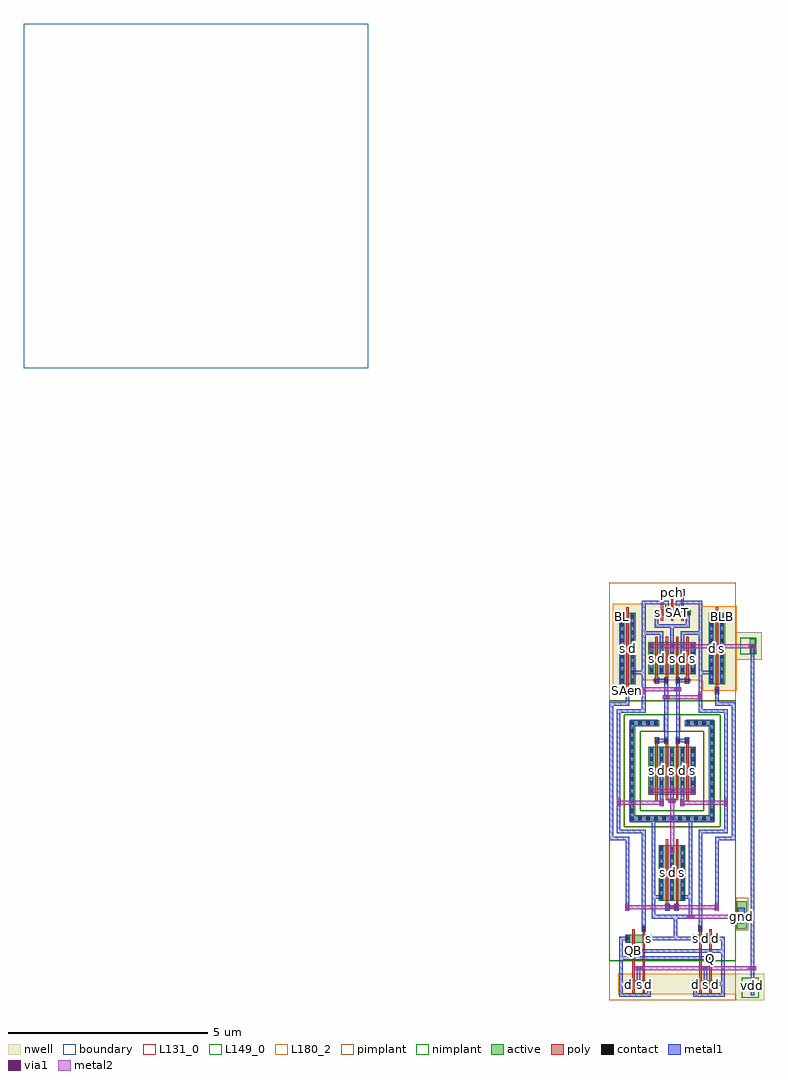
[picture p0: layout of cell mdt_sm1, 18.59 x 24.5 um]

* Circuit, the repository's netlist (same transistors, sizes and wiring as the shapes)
************************************************************************
* auCdl Netlist:
* 
* Library Name:  lab
* Top Cell Name: mdt_sm1
* View Name:     schematic
* Netlisted on:  Apr  9 22:30:28 2026
************************************************************************

*.BIPOLAR
*.RESI = 2000 
*.RESVAL
*.CAPVAL
*.DIOPERI
*.DIOAREA
*.EQUATION
*.SCALE METER
*.MEGA
.PARAM



************************************************************************
* Library Name: lab
* Cell Name:    mdt_sm1
* View Name:    schematic
************************************************************************

.SUBCKT mdt_sm1 BL BLB Q QB SAF SAT SAen gnd pch vdd
*.PININFO BL:I BLB:I SAen:I pch:I vdd:I Q:O QB:O SAF:O SAT:O gnd:B
MM13 QB SAT vdd vdd psvtlp w=0.2 l=0.06 nfing=1 sense=0 ngcon=1 m=1 
+ accurateFlow=0
MM12 QB Q vdd vdd psvtlp w=0.2 l=0.06 nfing=1 sense=0 ngcon=1 m=1 
+ accurateFlow=0
MM11 Q QB vdd vdd psvtlp w=0.2 l=0.06 nfing=1 sense=0 ngcon=1 m=1 
+ accurateFlow=0
MM10 Q SAF vdd vdd psvtlp w=0.2 l=0.06 nfing=1 sense=0 ngcon=1 m=1 
+ accurateFlow=0
MM6 SAT SAen BLB vdd psvtlp w=1.8 l=0.06 nfing=1 sense=0 ngcon=1 m=1 
+ accurateFlow=0
MM5 SAF SAen BL vdd psvtlp w=1.8 l=0.06 nfing=1 sense=0 ngcon=1 m=1 
+ accurateFlow=0
MM4 SAT SAF vdd vdd psvtlp w=1.6 l=0.06 nfing=1 sense=0 ngcon=1 m=1 
+ accurateFlow=0
MM3 SAF SAT vdd vdd psvtlp w=1.6 l=0.06 nfing=1 sense=0 ngcon=1 m=1 
+ accurateFlow=0
MM2 SAT pch vdd vdd psvtlp w=0.135 l=0.06 nfing=1 sense=0 ngcon=1 m=1 
+ accurateFlow=0
MM1 SAT pch SAF vdd psvtlp w=0.135 l=0.06 nfing=1 sense=0 ngcon=1 m=1 
+ accurateFlow=0
MM0 SAF pch vdd vdd psvtlp w=0.135 l=0.06 nfing=1 sense=0 ngcon=1 m=1 
+ accurateFlow=0
MM17 net72 SAT gnd gnd nsvtlp w=0.2 l=0.06 nfing=1 sense=0 ngcon=1 m=1 
+ accurateFlow=0
MM16 QB Q net72 gnd nsvtlp w=0.2 l=0.06 nfing=1 sense=0 ngcon=1 m=1 
+ accurateFlow=0
MM15 net71 SAF gnd gnd nsvtlp w=0.2 l=0.06 nfing=1 sense=0 ngcon=1 m=1 
+ accurateFlow=0
MM14 Q QB net71 gnd nsvtlp w=0.2 l=0.06 nfing=1 sense=0 ngcon=1 m=1 
+ accurateFlow=0
MM9 net46 SAen gnd gnd nsvtlp w=2.8 l=0.06 nfing=1 sense=0 ngcon=1 m=1 
+ accurateFlow=0
MM8 SAT SAF net46 gnd nsvtlp w=2.4 l=0.06 nfing=1 sense=0 ngcon=1 m=1 
+ accurateFlow=0
MM7 SAF SAT net46 gnd nsvtlp w=2.4 l=0.06 nfing=1 sense=0 ngcon=1 m=1 
+ accurateFlow=0
.ENDS

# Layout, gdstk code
from math import pi, radians
import gdstk
lib = gdstk.Library(unit=1e-6, precision=1e-09)
def R(c, l, rs):  # rectangles x0, y0, x1, y1
    for r in rs: c.add(gdstk.rectangle(r[:2], r[2:], *l))
def A(c, l, x, y, w, h, nx, ny, dx, dy):  # array of equal rectangles
    R(c, l, [(x+i*dx, y+j*dy, x+i*dx+w, y+j*dy+h) for i in range(nx) for j in range(ny)])
nwell = (3, 0)
active = (6, 0)
poly = (17, 0)
pimplant = (25, 0)
nimplant = (26, 0)
contact = (30, 0)
metal1 = (31, 0)
metal2 = (32, 0)
via1 = (51, 0)
boundary = (108, 0)
L131_0 = (131, 0)
L149_0 = (149, 0)
L180_2 = (180, 2)

pc_ct = lib.new_cell('pc_ct')
R(pc_ct, contact, [(0,0,0.09,0.09)])

m1__po_h_cdns_7757539609 = lib.new_cell('M1__PO_H_CDNS_775753960930')
R(m1__po_h_cdns_7757539609, poly, [(-0.055,-0.085,0.055,0.085)])
R(m1__po_h_cdns_7757539609, contact, [(-0.045,-0.045,0.045,0.045)])
R(m1__po_h_cdns_7757539609, metal1, [(-0.045,-0.085,0.045,0.085)])

m2x_m1_cdns_775753960931 = lib.new_cell('M2X_M1_CDNS_775753960931')
R(m2x_m1_cdns_775753960931, metal1, [(-0.05,-0.09,0.05,0.09)])
R(m2x_m1_cdns_775753960931, metal2, [(-0.05,-0.09,0.05,0.09)])
R(m2x_m1_cdns_775753960931, via1, [(-0.05,-0.05,0.05,0.05)])

m1__po_cdns_775753960932 = lib.new_cell('M1__PO_CDNS_775753960932')
R(m1__po_cdns_775753960932, poly, [(-0.055,-0.085,0.055,0.085)])
R(m1__po_cdns_775753960932, contact, [(-0.045,-0.045,0.045,0.045)])
R(m1__po_cdns_775753960932, metal1, [(-0.085,-0.045,0.085,0.045)])

m1___pod_cdns_7757539609 = lib.new_cell('M1___POD_CDNS_775753960933')
R(m1___pod_cdns_7757539609, active, [(-0.075,-1.275,0.075,1.275)])
R(m1___pod_cdns_7757539609, pimplant, [(-0.205,-1.405,0.205,1.405)])
A(m1___pod_cdns_7757539609, contact, -0.045, -1.245, 0.09, 0.09, 1, 13, 0, 0.2)
R(m1___pod_cdns_7757539609, metal1, [(-0.045,-1.285,0.045,1.285)])

c_m1___pod_cdns_7757539609 = lib.new_cell('M1___POD_CDNS_775753960934')
R(c_m1___pod_cdns_7757539609, active, [(-1.075,-0.075,1.075,0.075)])
R(c_m1___pod_cdns_7757539609, pimplant, [(-1.205,-0.205,1.205,0.205)])
A(c_m1___pod_cdns_7757539609, contact, -1.045, -0.045, 0.09, 0.09, 11, 1, 0.2, 0)
R(c_m1___pod_cdns_7757539609, metal1, [(-1.045,-0.085,1.045,0.085)])

c_m1___pod_cdns_7757539609_ = lib.new_cell('M1___POD_CDNS_775753960935')
R(c_m1___pod_cdns_7757539609_, active, [(-0.375,-0.075,0.375,0.075)])
R(c_m1___pod_cdns_7757539609_, pimplant, [(-0.505,-0.205,0.505,0.205)])
A(c_m1___pod_cdns_7757539609_, contact, -0.345, -0.045, 0.09, 0.09, 4, 1, 0.2, 0)
R(c_m1___pod_cdns_7757539609_, metal1, [(-0.345,-0.085,0.345,0.085)])

mdt_sm1 = lib.new_cell('mdt_sm1')
R(mdt_sm1, nwell, [(17.88,-15.85,18.595,-15.19), (14.93,-15.71,17.88,-15.19), (14.79,-8.09,15.525,-5.9), (17.035,-8.09,17.9,-5.97), (15.525,-7.83,17.035,-6.71), (17.9,-7.31,18.53,-6.615), (15.525,-6.71,17.035,-5.9)])
A(mdt_sm1, active, 15.815, -6.195, 0.41, 0.135, 3, 1, 0.26, 0)
R(mdt_sm1, active, [(18.06,-15.565,18.435,-15.415), (15.1,-15.55,15.275,-15.35), (15.1,-15.55,15.51,-15.35), (15.335,-15.55,15.51,-15.35), (15.36,-15.55,15.535,-15.35), (15.36,-15.55,15.77,-15.35), (15.595,-15.55,15.77,-15.35), (16.78,-15.55,16.955,-15.35), (16.78,-15.55,17.19,-15.35), (17.015,-15.55,17.19,-15.35), (17.04,-15.55,17.215,-15.35), (17.04,-15.55,17.45,-15.35), (17.275,-15.55,17.45,-15.35), (15.1,-14.41,15.275,-14.21), (15.1,-14.41,15.51,-14.21), (15.335,-14.41,15.51,-14.21), (15.36,-14.41,15.535,-14.21), (15.36,-14.41,15.77,-14.21), (15.595,-14.41,15.77,-14.21), (16.78,-14.41,16.955,-14.21), (16.78,-14.41,17.19,-14.21), (17.015,-14.41,17.19,-14.21), (17.04,-14.41,17.215,-14.21), (17.04,-14.41,17.45,-14.21), (17.275,-14.41,17.45,-14.21), (17.9,-14.06,18.145,-13.375), (15.94,-13.36,16.115,-11.96), (15.94,-13.36,16.61,-11.96), (16.175,-13.36,16.375,-11.96), (16.435,-13.36,16.61,-11.96), (15.68,-10.7,16.35,-9.5), (15.68,-10.7,15.855,-9.5), (15.915,-10.7,16.115,-9.5), (16.175,-10.7,16.35,-9.5), (16.2,-10.7,16.87,-9.5), (16.2,-10.7,16.375,-9.5), (16.435,-10.7,16.635,-9.5), (16.695,-10.7,16.87,-9.5), (14.95,-7.93,15.125,-6.13), (14.95,-7.93,15.36,-6.13), (15.185,-7.93,15.36,-6.13), (17.195,-7.93,17.37,-6.13), (17.195,-7.93,17.605,-6.13), (17.43,-7.93,17.605,-6.13), (15.68,-7.67,15.855,-6.87), (15.68,-7.67,16.35,-6.87), (15.915,-7.67,16.115,-6.87), (16.175,-7.67,16.35,-6.87), (16.2,-7.67,16.375,-6.87), (16.2,-7.67,16.87,-6.87), (16.435,-7.67,16.635,-6.87), (16.695,-7.67,16.87,-6.87), (18.22,-7.15,18.37,-6.78), (15.815,-6.195,15.99,-6.06), (16.05,-6.195,16.225,-6.06), (16.075,-6.195,16.25,-6.06), (16.31,-6.195,16.485,-6.06), (16.335,-6.195,16.51,-6.06), (16.57,-6.195,16.745,-6.06)])
A(mdt_sm1, poly, 15.855, -10.84, 0.06, 1.48, 4, 1, 0.26, 0)
A(mdt_sm1, poly, 15.855, -7.81, 0.06, 1.08, 4, 1, 0.26, 0)
A(mdt_sm1, poly, 15.99, -6.335, 0.06, 0.415, 3, 1, 0.26, 0)
A(mdt_sm1, poly, 15.99, -6.06, 0.06, 0.525, 3, 1, 0.26, 0)
R(mdt_sm1, poly, [(15.275,-15.69,15.335,-15.21), (15.535,-15.69,15.595,-15.21), (16.955,-15.69,17.015,-15.21), (17.215,-15.69,17.275,-15.21), (15.275,-15.35,15.335,-14.41), (15.535,-15.35,15.595,-14.41), (16.955,-15.35,17.015,-14.41), (17.215,-15.35,17.275,-14.41), (15.275,-14.55,15.335,-14.07), (15.535,-14.55,15.595,-14.07), (16.955,-14.55,17.015,-14.07), (17.215,-14.55,17.275,-14.07), (16.115,-13.5,16.175,-11.82), (16.375,-13.5,16.435,-11.82), (15.125,-8.07,15.185,-5.99), (17.37,-8.07,17.43,-5.99), (16.595,-7.915,16.705,-7.745)])
R(mdt_sm1, pimplant, [(14.695,-15.85,17.88,-14.865), (17.88,-14.105,18.185,-13.29), (14.695,-8.335,15.555,-5.375), (15.555,-8.335,17.065,-6.515), (17.065,-8.335,17.88,-5.375), (15.555,-6.515,17.065,-5.375)])
R(mdt_sm1, nimplant, [(18.02,-15.79,18.455,-15.29), (14.695,-14.865,17.88,-11.505), (14.695,-11.505,15.07,-8.695), (17.48,-11.505,17.88,-8.695), (15.48,-11.095,17.07,-9.105), (14.695,-8.695,17.88,-8.335), (17.99,-7.17,18.39,-6.755)])
R(mdt_sm1, contact, [(18.25,-15.535,18.34,-15.445), (17.97,-13.805,18.06,-13.715), (16.605,-7.875,16.695,-7.785), (18.25,-7.015,18.34,-6.925)])
A(mdt_sm1, metal1, 15.97, -13.345, 0.09, 1.37, 3, 1, 0.26, 0)
A(mdt_sm1, metal1, 15.71, -10.685, 0.09, 1.17, 3, 1, 0.26, 0)
A(mdt_sm1, metal1, 16.23, -10.685, 0.09, 1.17, 3, 1, 0.26, 0)
A(mdt_sm1, metal1, 15.71, -7.655, 0.09, 0.77, 3, 1, 0.26, 0)
A(mdt_sm1, metal1, 16.23, -7.655, 0.09, 0.77, 3, 1, 0.26, 0)
R(mdt_sm1, metal1, [(14.95,-15.765,15.04,-15.405), (14.95,-15.765,15.74,-15.675), (15.65,-15.765,15.74,-15.365), (16.81,-15.765,17.6,-15.675), (16.81,-15.765,16.9,-15.365), (17.51,-15.765,17.6,-15.405), (18.25,-15.725,18.34,-6.925), (18.25,-15.575,18.34,-15.405), (15.13,-15.535,15.22,-15.365), (15.39,-15.535,15.48,-15.365), (15.39,-15.535,15.48,-15.365), (15.39,-15.535,15.48,-15.01), (15.65,-15.535,15.74,-15.365), (16.81,-15.535,16.9,-15.365), (17.07,-15.535,17.16,-15.365), (17.07,-15.535,17.16,-15.365), (17.07,-15.535,17.16,-15.01), (17.33,-15.535,17.42,-15.365), (18.25,-15.535,18.34,-15.445), (14.95,-15.495,15.22,-15.405), (14.95,-15.495,15.04,-14.265), (17.33,-15.495,17.6,-15.405), (17.51,-15.495,17.6,-14.265), (14.95,-14.845,17.295,-14.755), (17.205,-14.845,17.295,-14.755), (15.26,-14.665,17.6,-14.575), (15.26,-14.665,15.35,-14.575), (15.13,-14.395,15.22,-14.225), (15.65,-14.395,15.74,-14.225), (16.81,-14.395,16.9,-14.225), (17.33,-14.395,17.42,-14.225), (14.95,-14.355,15.22,-14.265), (15.65,-14.355,16.9,-14.265), (16.32,-14.355,16.41,-13.71), (17.33,-14.355,17.6,-14.265), (15.52,-14.1,15.61,-11.575), (16.94,-14.1,17.03,-11.575), (17.925,-13.92,18.105,-13.71), (15.765,-13.81,15.855,-13.215), (15.765,-13.81,16.785,-13.71), (16.695,-13.81,16.785,-13.215), (17.925,-13.805,18.105,-13.53), (17.97,-13.805,18.06,-13.715), (15.11,-13.57,15.2,-11.755), (17.355,-13.57,17.445,-11.755), (16.115,-13.565,16.435,-13.475), (15.765,-13.305,15.855,-11.255), (15.765,-13.305,16.06,-13.215), (16.49,-13.305,16.785,-13.215), (16.695,-13.305,16.785,-11.255), (14.705,-11.845,15.2,-11.755), (14.705,-11.845,14.795,-8.375), (17.355,-11.845,17.87,-11.755), (17.78,-11.845,17.87,-8.375), (14.89,-11.665,15.61,-11.575), (14.89,-11.665,14.98,-8.555), (16.94,-11.665,17.675,-11.575), (17.585,-11.665,17.675,-8.555), (15.97,-10.95,16.06,-10.555), (16.49,-10.95,16.58,-10.555), (16.23,-10.89,16.32,-10.555), (15.855,-9.385,16.175,-9.295), (16.085,-9.385,16.175,-7.785), (16.375,-9.385,16.695,-9.295), (16.375,-9.385,16.465,-7.785), (14.89,-8.645,15.61,-8.555), (15.52,-8.645,15.61,-6.595), (16.94,-8.645,17.03,-6.595), (16.94,-8.645,17.675,-8.555), (14.705,-8.465,15.2,-8.375), (15.11,-8.465,15.2,-8.045), (17.355,-8.465,17.445,-8.045), (17.355,-8.465,17.87,-8.375), (15.11,-8.135,15.2,-8.045), (14.98,-7.915,15.07,-6.145), (15.24,-7.915,15.33,-6.145), (17.225,-7.915,17.315,-6.145), (17.485,-7.915,17.575,-6.145), (15.855,-7.875,16.175,-7.785), (16.375,-7.875,16.695,-7.785), (16.565,-7.875,16.735,-7.785), (15.24,-7.675,15.61,-7.585), (16.94,-7.675,17.315,-7.585), (15.97,-7.015,16.06,-6.595), (16.23,-7.015,16.32,-6.415), (16.49,-7.015,16.58,-6.595), (18.21,-7.015,18.38,-6.925), (15.52,-6.685,15.61,-5.83), (15.525,-6.685,16.06,-6.595), (16.49,-6.685,17.03,-6.595), (16.94,-6.685,17.03,-5.83), (15.845,-6.505,15.935,-6.085), (15.845,-6.505,16.715,-6.415), (16.625,-6.505,16.715,-6.085), (14.98,-6.275,15.07,-6.185), (17.485,-6.275,17.575,-6.185), (15.845,-6.215,15.935,-6.045), (16.105,-6.215,16.195,-6.045), (16.105,-6.215,16.195,-6.045), (16.365,-6.215,16.455,-6.045), (16.365,-6.215,16.455,-6.045), (16.625,-6.215,16.715,-6.045), (16.105,-6.175,16.195,-5.83), (16.105,-6.175,16.195,-6.085), (16.365,-6.175,16.455,-5.83), (16.365,-6.175,16.455,-6.085), (15.52,-5.92,16.195,-5.83), (16.365,-5.92,17.03,-5.83), (15.975,-5.665,16.585,-5.575), (16.235,-5.665,16.325,-5.575), (16.235,-5.665,16.325,-5.575)])
R(mdt_sm1, metal2, [(15.4,-15.105,18.355,-15.005), (16.65,-13.81,18.105,-13.71), (17.925,-13.81,18.105,-13.71), (15.105,-13.57,17.45,-13.47), (16.225,-12.105,16.325,-10.795), (14.885,-10.945,16.065,-10.845), (16.485,-10.945,17.68,-10.845), (15.705,-10.65,16.845,-10.55), (16.08,-8.3,17.035,-8.2), (15.515,-8.1,16.47,-8), (15.705,-7.02,18.385,-6.92)])
R(mdt_sm1, via1, [(17.965,-13.81,18.065,-13.71)])
R(mdt_sm1, boundary, [(0,0,8.645,8.645)])
A(mdt_sm1, L131_0, 15.97, -13.345, 0.09, 1.37, 3, 1, 0.26, 0)
A(mdt_sm1, L131_0, 15.71, -10.685, 0.09, 1.17, 3, 1, 0.26, 0)
A(mdt_sm1, L131_0, 16.23, -10.685, 0.09, 1.17, 3, 1, 0.26, 0)
A(mdt_sm1, L131_0, 15.71, -7.655, 0.09, 0.77, 3, 1, 0.26, 0)
A(mdt_sm1, L131_0, 16.23, -7.655, 0.09, 0.77, 3, 1, 0.26, 0)
R(mdt_sm1, L131_0, [(15.13,-15.535,15.22,-15.365), (15.39,-15.535,15.48,-15.365), (15.39,-15.535,15.48,-15.365), (15.65,-15.535,15.74,-15.365), (16.81,-15.535,16.9,-15.365), (17.07,-15.535,17.16,-15.365), (17.07,-15.535,17.16,-15.365), (17.33,-15.535,17.42,-15.365), (15.13,-14.395,15.22,-14.225), (15.65,-14.395,15.74,-14.225), (16.81,-14.395,16.9,-14.225), (17.33,-14.395,17.42,-14.225), (14.98,-7.915,15.07,-6.145), (15.24,-7.915,15.33,-6.145), (17.225,-7.915,17.315,-6.145), (17.485,-7.915,17.575,-6.145), (15.845,-6.215,15.935,-6.045), (16.105,-6.215,16.195,-6.045), (16.105,-6.215,16.195,-6.045), (16.365,-6.215,16.455,-6.045), (16.365,-6.215,16.455,-6.045), (16.625,-6.215,16.715,-6.045)])
A(mdt_sm1, L149_0, 15.855, -10.84, 0.06, 0.14, 4, 2, 0.26, 1.34)
A(mdt_sm1, L149_0, 15.855, -7.81, 0.06, 0.14, 4, 2, 0.26, 0.94)
A(mdt_sm1, L149_0, 15.99, -6.335, 0.06, 0.14, 3, 2, 0.26, 0.275)
R(mdt_sm1, L149_0, [(15.275,-15.69,15.335,-15.55), (15.535,-15.69,15.595,-15.55), (16.955,-15.69,17.015,-15.55), (17.215,-15.69,17.275,-15.55), (15.275,-15.35,15.335,-15.21), (15.535,-15.35,15.595,-15.21), (16.955,-15.35,17.015,-15.21), (17.215,-15.35,17.275,-15.21), (15.275,-14.55,15.335,-14.41), (15.535,-14.55,15.595,-14.41), (16.955,-14.55,17.015,-14.41), (17.215,-14.55,17.275,-14.41), (15.275,-14.21,15.335,-14.07), (15.535,-14.21,15.595,-14.07), (16.955,-14.21,17.015,-14.07), (17.215,-14.21,17.275,-14.07), (16.115,-13.5,16.175,-13.36), (16.375,-13.5,16.435,-13.36), (16.115,-11.96,16.175,-11.82), (16.375,-11.96,16.435,-11.82), (15.125,-8.07,15.185,-7.93), (17.37,-8.07,17.43,-7.93), (15.125,-6.13,15.185,-5.99), (17.37,-6.13,17.43,-5.99)])
R(mdt_sm1, L180_2, [(14.93,-15.71,17.88,-15.19), (14.79,-8.09,15.525,-5.9), (17.035,-8.09,17.9,-5.97), (15.525,-7.83,17.035,-6.71), (15.525,-6.71,17.035,-5.9)])
r = gdstk.Reference(pc_ct, (15.71,-10.645)); r.repetition = gdstk.Repetition(1, 6, v1=(0.2,0), v2=(0,0.2)); mdt_sm1.add(r)
r = gdstk.Reference(pc_ct, (15.97,-10.645)); r.repetition = gdstk.Repetition(1, 6, v1=(0.2,0), v2=(0,0.2)); mdt_sm1.add(r)
r = gdstk.Reference(pc_ct, (16.23,-10.645)); r.repetition = gdstk.Repetition(1, 6, v1=(0.2,0), v2=(0,0.2)); mdt_sm1.add(r)
r = gdstk.Reference(pc_ct, (16.23,-10.645)); r.repetition = gdstk.Repetition(1, 6, v1=(0.2,0), v2=(0,0.2)); mdt_sm1.add(r)
r = gdstk.Reference(pc_ct, (16.49,-10.645)); r.repetition = gdstk.Repetition(1, 6, v1=(0.2,0), v2=(0,0.2)); mdt_sm1.add(r)
r = gdstk.Reference(pc_ct, (16.75,-10.645)); r.repetition = gdstk.Repetition(1, 6, v1=(0.2,0), v2=(0,0.2)); mdt_sm1.add(r)
r = gdstk.Reference(pc_ct, (15.24,-7.875)); r.repetition = gdstk.Repetition(1, 9, v1=(0.2,0), v2=(0,0.2)); mdt_sm1.add(r)
r = gdstk.Reference(pc_ct, (14.98,-7.875)); r.repetition = gdstk.Repetition(1, 9, v1=(0.2,0), v2=(0,0.2)); mdt_sm1.add(r)
r = gdstk.Reference(pc_ct, (17.315,-7.875), rotation=pi, x_reflection=True); r.repetition = gdstk.Repetition(1, 9, v1=(-0.2,0), v2=(0,0.2)); mdt_sm1.add(r)
r = gdstk.Reference(pc_ct, (17.575,-7.875), rotation=pi, x_reflection=True); r.repetition = gdstk.Repetition(1, 9, v1=(-0.2,0), v2=(0,0.2)); mdt_sm1.add(r)
r = gdstk.Reference(pc_ct, (16.23,-13.305)); r.repetition = gdstk.Repetition(1, 7, v1=(0.2,0), v2=(0,0.2)); mdt_sm1.add(r)
r = gdstk.Reference(pc_ct, (16.49,-13.305)); r.repetition = gdstk.Repetition(1, 7, v1=(0.2,0), v2=(0,0.2)); mdt_sm1.add(r)
r = gdstk.Reference(pc_ct, (15.97,-13.305)); r.repetition = gdstk.Repetition(1, 7, v1=(0.2,0), v2=(0,0.2)); mdt_sm1.add(r)
r = gdstk.Reference(pc_ct, (16.9,-15.495), rotation=pi, x_reflection=True); r.repetition = gdstk.Repetition(1, 1, v1=(-0.2,0), v2=(0,0.2)); mdt_sm1.add(r)
r = gdstk.Reference(pc_ct, (17.16,-15.495), rotation=pi, x_reflection=True); r.repetition = gdstk.Repetition(1, 1, v1=(-0.2,0), v2=(0,0.2)); mdt_sm1.add(r)
r = gdstk.Reference(pc_ct, (17.33,-14.355)); r.repetition = gdstk.Repetition(1, 1, v1=(0.2,0), v2=(0,0.2)); mdt_sm1.add(r)
r = gdstk.Reference(pc_ct, (17.33,-15.495)); r.repetition = gdstk.Repetition(1, 1, v1=(0.2,0), v2=(0,0.2)); mdt_sm1.add(r)
r = gdstk.Reference(pc_ct, (17.07,-15.495)); r.repetition = gdstk.Repetition(1, 1, v1=(0.2,0), v2=(0,0.2)); mdt_sm1.add(r)
r = gdstk.Reference(pc_ct, (16.81,-14.355)); r.repetition = gdstk.Repetition(1, 1, v1=(0.2,0), v2=(0,0.2)); mdt_sm1.add(r)
r = gdstk.Reference(pc_ct, (15.74,-14.355), rotation=pi, x_reflection=True); r.repetition = gdstk.Repetition(1, 1, v1=(-0.2,0), v2=(0,0.2)); mdt_sm1.add(r)
r = gdstk.Reference(pc_ct, (15.22,-14.355), rotation=pi, x_reflection=True); r.repetition = gdstk.Repetition(1, 1, v1=(-0.2,0), v2=(0,0.2)); mdt_sm1.add(r)
r = gdstk.Reference(pc_ct, (15.65,-15.495)); r.repetition = gdstk.Repetition(1, 1, v1=(0.2,0), v2=(0,0.2)); mdt_sm1.add(r)
r = gdstk.Reference(pc_ct, (15.39,-15.495)); r.repetition = gdstk.Repetition(1, 1, v1=(0.2,0), v2=(0,0.2)); mdt_sm1.add(r)
r = gdstk.Reference(pc_ct, (15.22,-15.495), rotation=pi, x_reflection=True); r.repetition = gdstk.Repetition(1, 1, v1=(-0.2,0), v2=(0,0.2)); mdt_sm1.add(r)
r = gdstk.Reference(pc_ct, (15.48,-15.495), rotation=pi, x_reflection=True); r.repetition = gdstk.Repetition(1, 1, v1=(-0.2,0), v2=(0,0.2)); mdt_sm1.add(r)
r = gdstk.Reference(pc_ct, (16.49,-7.615)); r.repetition = gdstk.Repetition(1, 4, v1=(0.2,0), v2=(0,0.2)); mdt_sm1.add(r)
r = gdstk.Reference(pc_ct, (16.75,-7.615)); r.repetition = gdstk.Repetition(1, 4, v1=(0.2,0), v2=(0,0.2)); mdt_sm1.add(r)
r = gdstk.Reference(pc_ct, (16.23,-7.615)); r.repetition = gdstk.Repetition(1, 4, v1=(0.2,0), v2=(0,0.2)); mdt_sm1.add(r)
r = gdstk.Reference(pc_ct, (15.97,-7.615)); r.repetition = gdstk.Repetition(1, 4, v1=(0.2,0), v2=(0,0.2)); mdt_sm1.add(r)
r = gdstk.Reference(pc_ct, (16.23,-7.615)); r.repetition = gdstk.Repetition(1, 4, v1=(0.2,0), v2=(0,0.2)); mdt_sm1.add(r)
r = gdstk.Reference(pc_ct, (15.71,-7.615)); r.repetition = gdstk.Repetition(1, 4, v1=(0.2,0), v2=(0,0.2)); mdt_sm1.add(r)
r = gdstk.Reference(pc_ct, (16.455,-6.175), rotation=pi, x_reflection=True); r.repetition = gdstk.Repetition(1, 1, v1=(-0.2,0), v2=(0,0.2)); mdt_sm1.add(r)
r = gdstk.Reference(pc_ct, (16.715,-6.175), rotation=pi, x_reflection=True); r.repetition = gdstk.Repetition(1, 1, v1=(-0.2,0), v2=(0,0.2)); mdt_sm1.add(r)
r = gdstk.Reference(pc_ct, (16.365,-6.175)); r.repetition = gdstk.Repetition(1, 1, v1=(0.2,0), v2=(0,0.2)); mdt_sm1.add(r)
r = gdstk.Reference(pc_ct, (16.105,-6.175)); r.repetition = gdstk.Repetition(1, 1, v1=(0.2,0), v2=(0,0.2)); mdt_sm1.add(r)
r = gdstk.Reference(pc_ct, (16.105,-6.175)); r.repetition = gdstk.Repetition(1, 1, v1=(0.2,0), v2=(0,0.2)); mdt_sm1.add(r)
r = gdstk.Reference(pc_ct, (15.845,-6.175)); r.repetition = gdstk.Repetition(1, 1, v1=(0.2,0), v2=(0,0.2)); mdt_sm1.add(r)
mdt_sm1.add(gdstk.Reference(m1__po_h_cdns_7757539609, (15.9,-9.34)))
mdt_sm1.add(gdstk.Reference(m1__po_h_cdns_7757539609, (16.13,-9.34)))
mdt_sm1.add(gdstk.Reference(m1__po_h_cdns_7757539609, (16.65,-9.34)))
mdt_sm1.add(gdstk.Reference(m1__po_h_cdns_7757539609, (16.42,-9.34)))
mdt_sm1.add(gdstk.Reference(m1__po_h_cdns_7757539609, (16.985,-14.055)))
mdt_sm1.add(gdstk.Reference(m1__po_h_cdns_7757539609, (15.565,-14.055)))
mdt_sm1.add(gdstk.Reference(m1__po_h_cdns_7757539609, (15.155,-8.09)))
mdt_sm1.add(gdstk.Reference(m1__po_h_cdns_7757539609, (17.4,-8.09)))
mdt_sm1.add(gdstk.Reference(m1__po_h_cdns_7757539609, (16.02,-5.62)))
mdt_sm1.add(gdstk.Reference(m1__po_h_cdns_7757539609, (16.54,-5.62)))
mdt_sm1.add(gdstk.Reference(m1__po_h_cdns_7757539609, (16.39,-13.52)))
mdt_sm1.add(gdstk.Reference(m1__po_h_cdns_7757539609, (16.16,-13.52)))
mdt_sm1.add(gdstk.Reference(m1__po_h_cdns_7757539609, (16.42,-7.83)))
mdt_sm1.add(gdstk.Reference(m1__po_h_cdns_7757539609, (16.13,-7.83)))
mdt_sm1.add(gdstk.Reference(m2x_m1_cdns_775753960931, (16.74,-13.76), rotation=pi/2))
mdt_sm1.add(gdstk.Reference(m2x_m1_cdns_775753960931, (16.275,-10.6)))
mdt_sm1.add(gdstk.Reference(m2x_m1_cdns_775753960931, (16.795,-10.6)))
mdt_sm1.add(gdstk.Reference(m2x_m1_cdns_775753960931, (16.275,-10.845), rotation=pi/2))
mdt_sm1.add(gdstk.Reference(m2x_m1_cdns_775753960931, (16.535,-10.9)))
mdt_sm1.add(gdstk.Reference(m2x_m1_cdns_775753960931, (16.015,-10.9)))
mdt_sm1.add(gdstk.Reference(m2x_m1_cdns_775753960931, (15.755,-10.6)))
mdt_sm1.add(gdstk.Reference(m2x_m1_cdns_775753960931, (14.935,-10.895)))
mdt_sm1.add(gdstk.Reference(m2x_m1_cdns_775753960931, (17.63,-10.895)))
mdt_sm1.add(gdstk.Reference(m2x_m1_cdns_775753960931, (16.275,-12.065)))
mdt_sm1.add(gdstk.Reference(m2x_m1_cdns_775753960931, (17.115,-15.055), rotation=pi/2))
mdt_sm1.add(gdstk.Reference(m2x_m1_cdns_775753960931, (18.295,-15.055), rotation=pi/2))
mdt_sm1.add(gdstk.Reference(m2x_m1_cdns_775753960931, (15.435,-15.055), rotation=pi/2))
mdt_sm1.add(gdstk.Reference(m2x_m1_cdns_775753960931, (16.985,-8.21), rotation=pi, x_reflection=True))
mdt_sm1.add(gdstk.Reference(m2x_m1_cdns_775753960931, (16.13,-8.25), rotation=pi/2, x_reflection=True))
mdt_sm1.add(gdstk.Reference(m2x_m1_cdns_775753960931, (18.295,-6.97), rotation=pi/2))
mdt_sm1.add(gdstk.Reference(m2x_m1_cdns_775753960931, (17.4,-13.52)))
mdt_sm1.add(gdstk.Reference(m2x_m1_cdns_775753960931, (15.155,-13.52)))
mdt_sm1.add(gdstk.Reference(m2x_m1_cdns_775753960931, (15.565,-8.09)))
mdt_sm1.add(gdstk.Reference(m2x_m1_cdns_775753960931, (16.275,-13.52), rotation=pi/2))
mdt_sm1.add(gdstk.Reference(m2x_m1_cdns_775753960931, (16.42,-8.05), rotation=pi/2))
mdt_sm1.add(gdstk.Reference(m2x_m1_cdns_775753960931, (16.795,-6.97)))
mdt_sm1.add(gdstk.Reference(m2x_m1_cdns_775753960931, (16.275,-6.97)))
mdt_sm1.add(gdstk.Reference(m2x_m1_cdns_775753960931, (15.755,-6.97)))
mdt_sm1.add(gdstk.Reference(m1__po_cdns_775753960932, (15.305,-14.62)))
mdt_sm1.add(gdstk.Reference(m1__po_cdns_775753960932, (17.25,-14.8)))
mdt_sm1.add(gdstk.Reference(m1__po_cdns_775753960932, (16.28,-5.62)))
mdt_sm1.add(gdstk.Reference(m1__po_cdns_775753960932, (15.9,-7.83)))
mdt_sm1.add(gdstk.Reference(m1___pod_cdns_7757539609, (15.275,-10.1)))
mdt_sm1.add(gdstk.Reference(m1___pod_cdns_7757539609, (17.275,-10.1)))
mdt_sm1.add(gdstk.Reference(c_m1___pod_cdns_7757539609, (16.275,-11.3)))
mdt_sm1.add(gdstk.Reference(c_m1___pod_cdns_7757539609_, (15.575,-8.9)))
mdt_sm1.add(gdstk.Reference(c_m1___pod_cdns_7757539609_, (16.975,-8.9)))
mdt_sm1.add(gdstk.Label('gnd', (18.015,-13.76), layer=131, texttype=0))
mdt_sm1.add(gdstk.Label('SAen', (15.155,-8.09), layer=131, texttype=0))
mdt_sm1.add(gdstk.Label('pch', (16.28,-5.625), layer=131, texttype=0))
mdt_sm1.add(gdstk.Label('BL', (15.025,-6.23), layer=131, texttype=0))
mdt_sm1.add(gdstk.Label('Q', (17.25,-14.8), layer=131, texttype=0))
mdt_sm1.add(gdstk.Label('QB', (15.305,-14.62), layer=131, texttype=0))
mdt_sm1.add(gdstk.Label('BLB', (17.53,-6.23), layer=131, texttype=0))
mdt_sm1.add(gdstk.Label('SAT', (16.41,-6.13), layer=131, texttype=0))
mdt_sm1.add(gdstk.Label('SAF', (16.15,-6.13), layer=131, texttype=0))
mdt_sm1.add(gdstk.Label('vdd', (18.295,-15.49), layer=131, texttype=0))
mdt_sm1.add(gdstk.Label('s', (15.767,-10.1), layer=127, texttype=0))
mdt_sm1.add(gdstk.Label('s', (16.263,-10.1), layer=127, texttype=0))
mdt_sm1.add(gdstk.Label('d', (16.015,-10.1), layer=127, texttype=0))
mdt_sm1.add(gdstk.Label('s', (16.287,-10.1), layer=127, texttype=0))
mdt_sm1.add(gdstk.Label('s', (16.783,-10.1), layer=127, texttype=0))
mdt_sm1.add(gdstk.Label('d', (16.535,-10.1), layer=127, texttype=0))
mdt_sm1.add(gdstk.Label('d', (15.273,-7.03), layer=127, texttype=0))
mdt_sm1.add(gdstk.Label('s', (15.037,-7.03), layer=127, texttype=0))
mdt_sm1.add(gdstk.Label('d', (17.282,-7.03), layer=127, texttype=0))
mdt_sm1.add(gdstk.Label('s', (17.518,-7.03), layer=127, texttype=0))
mdt_sm1.add(gdstk.Label('d', (16.275,-12.66), layer=127, texttype=0))
mdt_sm1.add(gdstk.Label('s', (16.523,-12.66), layer=127, texttype=0))
mdt_sm1.add(gdstk.Label('s', (16.027,-12.66), layer=127, texttype=0))
mdt_sm1.add(gdstk.Label('d', (16.867,-15.45), layer=127, texttype=0))
mdt_sm1.add(gdstk.Label('s', (17.103,-15.45), layer=127, texttype=0))
mdt_sm1.add(gdstk.Label('d', (17.363,-14.31), layer=127, texttype=0))
mdt_sm1.add(gdstk.Label('d', (17.363,-15.45), layer=127, texttype=0))
mdt_sm1.add(gdstk.Label('s', (17.127,-15.45), layer=127, texttype=0))
mdt_sm1.add(gdstk.Label('d', (17.103,-14.31), layer=127, texttype=0))
mdt_sm1.add(gdstk.Label('s', (16.867,-14.31), layer=127, texttype=0))
mdt_sm1.add(gdstk.Label('s', (15.683,-14.31), layer=127, texttype=0))
mdt_sm1.add(gdstk.Label('d', (15.187,-14.31), layer=127, texttype=0))
mdt_sm1.add(gdstk.Label('d', (15.683,-15.45), layer=127, texttype=0))
mdt_sm1.add(gdstk.Label('s', (15.447,-15.45), layer=127, texttype=0))
mdt_sm1.add(gdstk.Label('d', (15.187,-15.45), layer=127, texttype=0))
mdt_sm1.add(gdstk.Label('s', (15.423,-15.45), layer=127, texttype=0))
mdt_sm1.add(gdstk.Label('d', (16.535,-7.27), layer=127, texttype=0))
mdt_sm1.add(gdstk.Label('s', (16.783,-7.27), layer=127, texttype=0))
mdt_sm1.add(gdstk.Label('s', (16.287,-7.27), layer=127, texttype=0))
mdt_sm1.add(gdstk.Label('d', (16.015,-7.27), layer=127, texttype=0))
mdt_sm1.add(gdstk.Label('s', (16.263,-7.27), layer=127, texttype=0))
mdt_sm1.add(gdstk.Label('s', (15.767,-7.27), layer=127, texttype=0))
mdt_sm1.add(gdstk.Label('d', (16.422,-6.127), layer=127, texttype=0))
mdt_sm1.add(gdstk.Label('s', (16.658,-6.127), layer=127, texttype=0))
mdt_sm1.add(gdstk.Label('d', (16.398,-6.127), layer=127, texttype=0))
mdt_sm1.add(gdstk.Label('s', (16.162,-6.127), layer=127, texttype=0))
mdt_sm1.add(gdstk.Label('d', (16.138,-6.127), layer=127, texttype=0))
mdt_sm1.add(gdstk.Label('s', (15.902,-6.127), layer=127, texttype=0))

lib.write_gds('mdt_sm1.gds')
